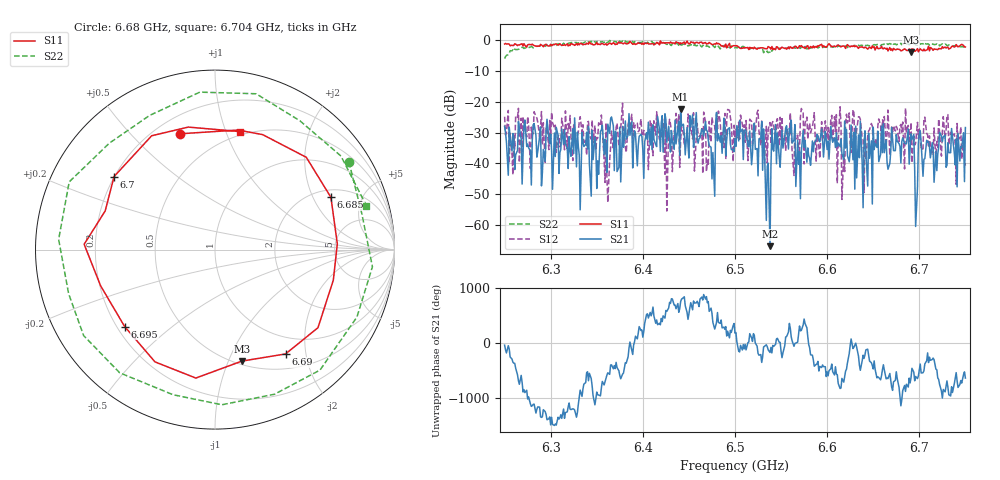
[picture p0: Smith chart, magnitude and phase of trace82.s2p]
# Hz S RI R 50
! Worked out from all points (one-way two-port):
!   401 points, 6.25 GHz to 6.75 GHz, reference 50 ohm
!   highest |S21| = -22.37 dB at 6.441 GHz (marker M1); lowest = -66.9 dB at 6.538 GHz (marker M2)
!   lowest |S11| = -3.9 dB at 6.691 GHz (marker M3), VSWR 4.54, Z = 26.7 - j56 ohm
!   |S11| at or under -10 dB: nowhere
!   |S22| runs from -6.0 to -0.1 dB; largest |S21 - S12| = 0.11
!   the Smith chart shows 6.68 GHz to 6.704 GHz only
!   S11 on the Smith chart (normalised r, x): 6.68 GHz: 0.30, +0.70; 6.685 GHz: 2.37, +2.77; 6.69 GHz: 0.72, -1.65; 6.695 GHz: 0.23, -0.35; 6.7 GHz: 0.20, +0.31; 6.704 GHz: 0.47, +1.12
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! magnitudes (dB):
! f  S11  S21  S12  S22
! 6.25 GHz  -1.2  -27.9  -24.8  -6.0
! 6.334 GHz  -1.2  -29.9  -29.9  -1.1
! 6.354 GHz  -1.4  -29.6  -27.8  -0.6
! 6.36 GHz  -1.1  -34.5  -26.8  -1.0
! 6.378 GHz  -1.1  -28.0  -20.5  -0.2
! 6.418 GHz  -1.5  -28.8  -32.2  -1.0
! 6.441 GHz  -0.8  -22.4  -32.8  -1.5
! 6.475 GHz  -1.4  -45.0  -25.0  -1.8
! 6.5 GHz  -1.8  -31.9  -31.9  -2.5
! 6.538 GHz  -2.4  -66.9  -26.7  -3.8
! 6.559 GHz  -2.8  -28.6  -31.2  -2.3
! 6.569 GHz  -2.2  -40.3  -34.7  -2.4
! 6.584 GHz  -2.5  -32.7  -28.1  -2.2
! 6.668 GHz  -2.4  -40.0  -37.4  -1.1
! 6.68 GHz  -3.4  -39.9  -27.3  -1.0
! 6.685 GHz  -3.0  -33.6  -22.1  -1.0
! 6.69 GHz  -3.1  -35.4  -32.9  -1.2
! 6.691 GHz  -3.9  -30.4  -26.7  -1.2
! 6.695 GHz  -3.6  -42.2  -34.0  -1.0
! 6.7 GHz  -3.2  -30.4  -28.8  -0.9
! 6.704 GHz  -3.5  -44.2  -35.3  -1.1
! 6.75 GHz  -2.2  -28.3  -40.7  -2.4
